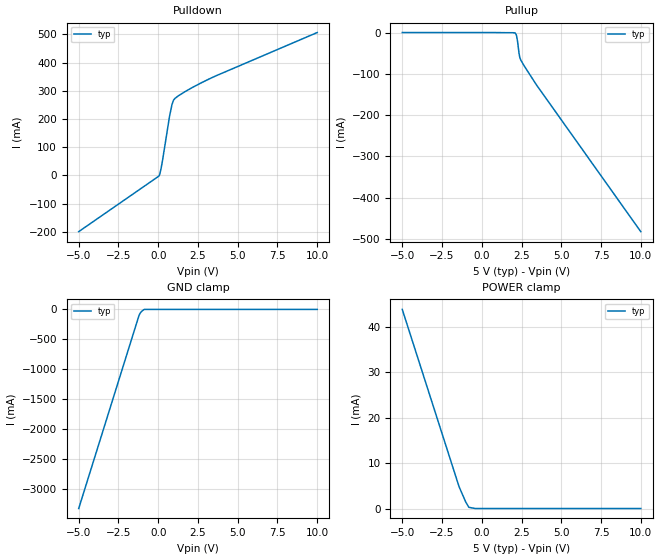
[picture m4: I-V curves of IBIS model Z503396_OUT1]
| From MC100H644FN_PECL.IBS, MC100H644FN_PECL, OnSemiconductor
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| (C) COPYRIGHT 1993-2000
| MENTOR GRAPHICS CORPORATION
| ICX STANDARD LIBRARY, ICX PROJECT MODELING,
| ICX CUSTOM MODELING, ICX VENDOR MODEL
| ALL RIGHTS RESERVED.
| THE FOLLOWING ARE TRADEMARKS OR SERVICE MARKS OF
| MENTOR GRAPHICS CORPORATION:ICX (R), ICX STANDARD
| LIBRARY(R), ICX PROJECT MODELING(R), ICX CUSTOM
| MODELING(R), qualityIBIS(TM), MODELVIEWER(TM),
| AND MODELEDITOR(TM)
| ALL COPIES OF SOFTWARE, INCLUDING BUT NOT LIMITED TO
| ANY MODIFICATIONS, ENHANCEMENTS OR DERIVATIVE WORKS,
| MUST CONTAIN ALL MENTOR GRAPHICS CORPORATION'S
| NOTICES AND LEGENDS, INCLUDING THOSE EMBEDDED IN
| SOFTWARE AND THOSE AFFIXED TO SOFTWARE MEDIUM
| AND CONTAINER, AS RECEIVED FROM MENTOR GRAPHICS
| CORPORATION.
| Model Application Version 1.89 2/18/99.
[Model] Z503396_OUT1
Model_type Output
Vref=0.000V
Rref=500.0ohms
Cref=25.00pF
Vmeas=1.500V
C_comp 8.000pF NA NA
| variable typ   min   max
[Voltage Range] 5.000V NA NA
[POWER Clamp Reference] 5.000V NA NA
[Pullup Reference] 5.000V NA NA
[Pulldown Reference] 0.000V NA NA
[GND Clamp Reference] 0.000V NA NA
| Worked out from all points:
|   slope of the pulldown table from 0 to 0.75 V, typ, clamps not added: 3.35 ohm
|   GND clamp passes 1 mA (typ) near -0.88 V on its own axis
|   POWER clamp passes 1 mA (typ) near -0.93 V on its own axis
[GND Clamp]
-5V       -3.322A    NA         NA
-1.206V   -99.87mA   NA         NA
-1.167V   -78.09mA   NA         NA
-1.089V   -45.87mA   NA         NA
-966.8mV  -15.79mA   NA         NA
-870.1mV  0A         NA         NA
10V       0A         NA         NA
[Pulldown]
-5V       -199.6mA   NA         NA
68.36mV   -182.4uA   NA         NA
102.2mV   4.93mA     NA         NA
181.3mV   24.4mA     NA         NA
272.9mV   53.38mA    NA         NA
713.5mV   209.9mA    NA         NA
869.1mV   252.2mA    NA         NA
972.3mV   267.7mA    NA         NA
1.064V    273.6mA    NA         NA
2.199V    313.5mA    NA         NA
3.281V    344.3mA    NA         NA
10V       506.9mA    NA         NA
[Pullup]
-5V       356.2uA    NA         NA
2.099V    -802.7uA   NA         NA
2.158V    -3.882mA   NA         NA
2.192V    -8.226mA   NA         NA
2.256V    -22.41mA   NA         NA
2.344V    -50.26mA   NA         NA
2.393V    -60.03mA   NA         NA
2.462V    -66.99mA   NA         NA
2.686V    -81.56mA   NA         NA
3.437V    -126.4mA   NA         NA
10V       -482.3mA   NA         NA
[POWER Clamp]
-5V       43.86mA    NA         NA
-1.426V   4.791mA    NA         NA
-1.011V   1.462mA    NA         NA
-811mV    261.4uA    NA         NA
-405.5mV  0A         NA         NA
10V       0A         NA         NA
[Ramp]
| variable typ min max
dV/dt_r 1.656/1.467n NA NA
dV/dt_f 1.656/12.08n NA NA
R_load = 500.0Ohms
